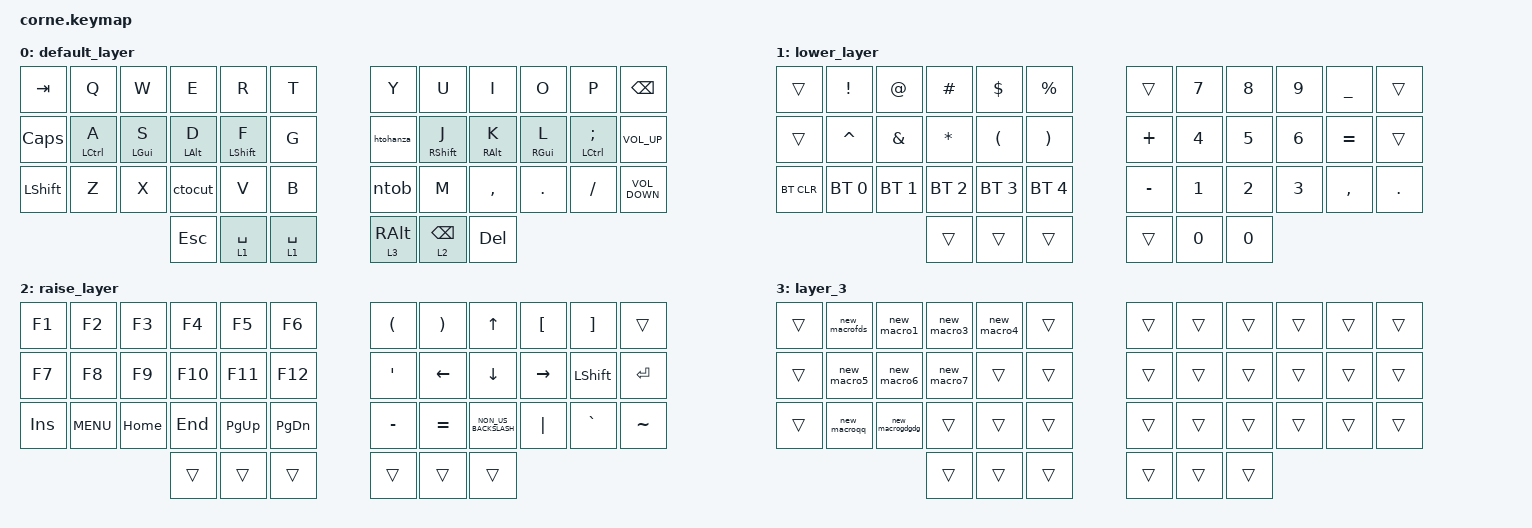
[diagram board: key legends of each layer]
#include <behaviors.dtsi>
#include <dt-bindings/zmk/bt.h>
#include <dt-bindings/zmk/keys.h>

/ {
    // [JK 동시에 누르면 엔터] 콤보 설정

    combos {
        compatible = "zmk,combos";

        combo_enter {
            timeout-ms = <50>;
            key-positions = <19 20>; // J(19)와 K(20) 위치
            bindings = <&kp RET>;
        };

        kl {
            bindings = <&kp EXCLAMATION>;
            key-positions = <21 22>;
        };

        xc {
            bindings = <&kp LC(C)>;
            key-positions = <26 27>;
        };

        cv {
            bindings = <&kp LC(V)>;
            key-positions = <27 28>;
        };

        io {
            bindings = <&kp RG(PERIOD)>;
            key-positions = <8 9>;
        };

        clip {
            bindings = <&kp LG(V)>;
            key-positions = <2 3>;
        };

        cap {
            bindings = <&kp LS(LG(S))>;
            key-positions = <15 16>;
        };

        qw {
            bindings = <&kp TILDE>;
            key-positions = <1 2>;
        };

        zx {
            bindings = <&kp LC(Z)>;
            key-positions = <25 26>;
        };
    };

    behaviors {
        // 홈로우 모드: 살짝 누르면 문자, 길게 누르면 모디파이어(Ctrl, Alt 등)

        hm: homerow_mods {
            compatible = "zmk,behavior-hold-tap";
            #binding-cells = <2>;
            tapping-term-ms = <200>;
            quick-tap-ms = <0>;
            flavor = "tap-preferred";
            bindings = <&kp>, <&kp>;
        };

        ntob: ntob {
            compatible = "zmk,behavior-tap-dance";
            label = "NTOB";
            #binding-cells = <0>;
            bindings = <&kp N>, <&kp B>;
        };

        htohanza: htohanza {
            compatible = "zmk,behavior-tap-dance";
            label = "HTOHANZA";
            #binding-cells = <0>;
            bindings = <&kp H>, <&kp LANGUAGE_2>;
        };

        ctocut: ctocut {
            compatible = "zmk,behavior-tap-dance";
            label = "CTOCUT";
            #binding-cells = <0>;
            bindings = <&kp C>, <&kp LC(X)>;
        };
    };

    macros {
        new_macro1: new_macro {
            compatible = "zmk,behavior-macro";
            #binding-cells = <0>;
            bindings = <&kp O &kp G &kp L &kp A &kp B &kp W &kp O &kp R &kp L &kp D &kp AT &kp G &kp M &kp A &kp I &kp L &kp DOT &kp C &kp O &kp M>;
            label = "NEW_MACRO";
        };

        new_macro3: new_macro3 {
            compatible = "zmk,behavior-macro";
            #binding-cells = <0>;
            bindings = <&kp A &kp U &kp D &kp W &kp L &kp S &kp N2 &kp N6 &kp N9 &kp N7 &kp AT &kp G &kp M &kp A &kp I &kp L &kp DOT &kp C &kp O &kp M>;
            label = "NEW_MACRO3";
        };

        new_macro4: new_macro4 {
            compatible = "zmk,behavior-macro";
            #binding-cells = <0>;
            bindings = <&kp A &kp U &kp D &kp W &kp L &kp S &kp N9 &kp N6 &kp N2 &kp N4 &kp AT &kp G &kp M &kp A &kp I &kp L &kp DOT &kp C &kp O &kp M>;
            label = "NEW_MACRO4";
        };

        new_macro5: new_macro5 {
            compatible = "zmk,behavior-macro";
            #binding-cells = <0>;
            bindings = <&kp I &kp A &kp M &kp J &kp O &kp K &kp E &kp R &kp N2 &kp N4 &kp AT>;
            label = "NEW_MACRO5";
        };

        new_macro6: new_macro6 {
            compatible = "zmk,behavior-macro";
            #binding-cells = <0>;
            bindings = <&kp I &kp A &kp M &kp J &kp O &kp K &kp E &kp R &kp N2 &kp N4 &kp DLLR>;
            label = "NEW_MACRO6";
        };

        new_macro7: new_macro7 {
            compatible = "zmk,behavior-macro";
            #binding-cells = <0>;
            bindings = <&kp S &kp K &kp F &kp M &kp F &kp T &kp K &kp F &kp K &kp D &kp G &kp K &kp F &kp K &kp M &kp STAR>;
            label = "NEW_MACRO7";
        };

        new_macroqq: new_macroqq {
            compatible = "zmk,behavior-macro";
            #binding-cells = <0>;
            bindings = <&kp SPACE &kp SPACE &kp SPACE &kp SPACE &kp N3 &kp N1 &kp N4 &kp SPACE &kp N1 &kp N1 &kp N3 &kp SPACE &kp N1 &kp N1 &kp N0 &kp N5 &kp SPACE>;
            label = "NEW_MACROQQ";
        };

        new_macrogdgdg: new_macrogdgdg {
            compatible = "zmk,behavior-macro";
            #binding-cells = <0>;
            bindings = <&kp N0 &kp N1 &kp N0 &kp MINUS &kp N4 &kp N4 &kp N5 &kp N5 &kp MINUS &kp N9 &kp N6 &kp N2 &kp N4>;
            label = "NEW_MACROGDGDG";
        };

        new_macrofds: new_macrofds {
            compatible = "zmk,behavior-macro";
            #binding-cells = <0>;
            bindings = <&kp O &kp G &kp L &kp A &kp B &kp W &kp O &kp R &kp L &kp D &kp AT &kp N &kp A &kp V &kp E &kp R &kp DOT &kp C &kp O &kp M>;
            label = "NEW_MACROFDS";
        };
    };

    keymap {
        compatible = "zmk,keymap";

        default_layer {
            bindings = <
&kp TAB    &kp Q        &kp W       &kp E       &kp R        &kp T          &kp Y            &kp U            &kp I       &kp O       &kp P                  &kp BSPC
&kp CLCK   &hm LCTRL A  &hm LGUI S  &hm LALT D  &hm LSHFT F  &kp G          &htohanza        &hm RSHFT J      &hm RALT K  &hm RGUI L  &hm LEFT_CONTROL SEMI  &kp C_VOLUME_UP
&kp LSHFT  &kp Z        &kp X       &ctocut     &kp V        &kp B          &ntob            &kp M            &kp COMMA   &kp DOT     &kp FSLH               &kp C_VOLUME_DOWN
                                    &kp ESC     &lt 1 SPACE  &lt 1 SPACE    &lt 3 RIGHT_ALT  &lt 2 BACKSPACE  &kp DELETE
            >;
        };

        lower_layer {
            bindings = <
&trans      &kp EXCLAMATION  &kp AT_SIGN    &kp HASH      &kp DOLLAR            &kp PERCENT              &trans     &kp N7        &kp N8        &kp N9        &kp UNDERSCORE  &trans
&trans      &kp CARET        &kp AMPERSAND  &kp ASTERISK  &kp LEFT_PARENTHESIS  &kp RIGHT_PARENTHESIS    &kp PLUS   &kp NUMBER_4  &kp N5        &kp NUMBER_6  &kp EQUAL       &trans
&bt BT_CLR  &bt BT_SEL 0     &bt BT_SEL 1   &bt BT_SEL 2  &bt BT_SEL 3          &bt BT_SEL 4             &kp MINUS  &kp NUMBER_1  &kp NUMBER_2  &kp NUMBER_3  &kp COMMA       &kp PERIOD
                                            &trans        &trans                &trans                   &trans     &kp NUMBER_0  &kp NUMBER_0
            >;
        };

        raise_layer {
            bindings = <
&kp F1      &kp F2      &kp F3    &kp F4   &kp F5       &kp F6           &kp LEFT_PARENTHESIS  &kp RIGHT_PARENTHESIS  &kp UP                &kp LEFT_BRACKET  &kp RIGHT_BRACKET  &trans
&kp F7      &kp F8      &kp F9    &kp F10  &kp F11      &kp F12          &kp SQT               &kp LEFT_ARROW         &kp DOWN              &kp RIGHT_ARROW   &kp LEFT_SHIFT     &kp ENTER
&kp INSERT  &kp K_MENU  &kp HOME  &kp END  &kp PAGE_UP  &kp PAGE_DOWN    &kp MINUS             &kp EQUAL              &kp NON_US_BACKSLASH  &kp PIPE          &kp GRAVE          &kp TILDE
                                  &trans   &trans       &trans           &trans                &trans                 &trans
            >;
        };

        layer_3 {
            bindings = <
&trans  &new_macrofds  &new_macro1      &new_macro3  &new_macro4  &trans    &trans  &trans  &trans  &trans  &trans  &trans
&trans  &new_macro5    &new_macro6      &new_macro7  &trans       &trans    &trans  &trans  &trans  &trans  &trans  &trans
&trans  &new_macroqq   &new_macrogdgdg  &trans       &trans       &trans    &trans  &trans  &trans  &trans  &trans  &trans
                                        &trans       &trans       &trans    &trans  &trans  &trans
            >;
        };
    };
};
